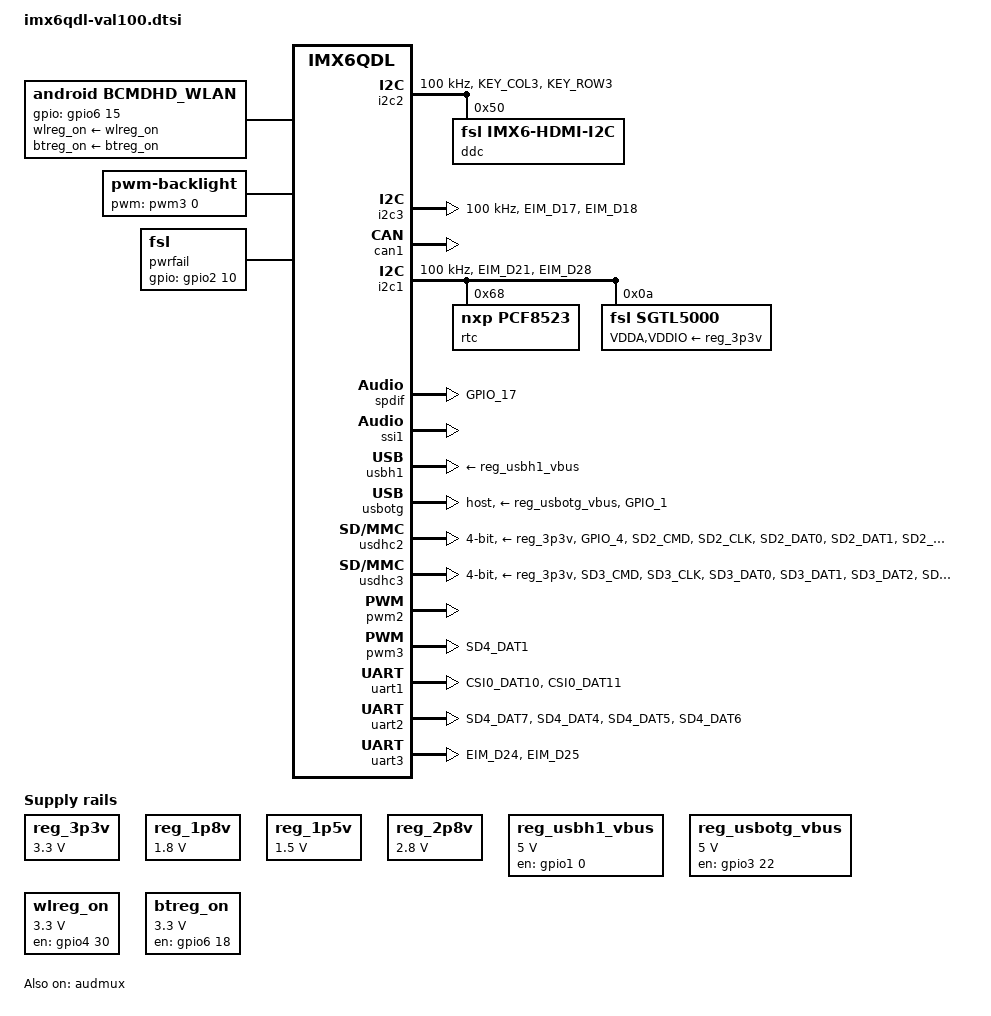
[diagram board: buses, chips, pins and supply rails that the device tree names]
/*
 * Copyright (C) 2016 Access IS
 * Adapted from file by Russell King
 */

#include "imx6qdl-microsom.dtsi"
#include "imx6qdl-microsom-ar8035.dtsi"

#if 1

#if defined(__DTS_IMX6DL_PINFUNC_H)
#undef  MX6QDL_PAD_SD3_DAT6__GPIO6_IO18
#define MX6QDL_PAD_SD3_DAT6__GPIO6_IO18             0x32c 0x714 0x000 0x5 0x0 // Single Core
#elif defined(__DTS_IMX6Q_PINFUNC_H)
#undef  MX6QDL_PAD_SD3_DAT6__GPIO6_IO18
#define MX6QDL_PAD_SD3_DAT6__GPIO6_IO18             0x2ac 0x694 0x000 0x5 0x0 // Dual Core
#endif

#endif
/ {
	chosen {
		bootargs = "quiet console=ttymxc0,115200 root=/dev/mmcblk0p2 rw";
	};

	aliases {
		mxcfb0 = &mxcfb1;
	};

	regulators {
		compatible = "simple-bus";

		reg_3p3v: 3p3v {
			compatible = "regulator-fixed";
			regulator-name = "3P3V";
			regulator-min-microvolt = <3300000>;
			regulator-max-microvolt = <3300000>;
			regulator-always-on;
		};

		reg_1p8v: 1p8v {
			compatible = "regulator-fixed";
			regulator-name = "1P8V";
			regulator-min-microvolt = <1800000>;
                        regulator-max-microvolt = <1800000>;
                        regulator-always-on;
		};



		reg_1p5v: 1p5v {
                        compatible = "regulator-fixed";
                        regulator-name = "1P5V";
                        regulator-min-microvolt = <1500000>;
                        regulator-max-microvolt = <1500000>;
                        regulator-always-on;
                };


		reg_2p8v: 2p8v {
                        compatible = "regulator-fixed";
                        regulator-name = "2P8V";
                        regulator-min-microvolt = <2800000>;
                        regulator-max-microvolt = <2800000>;
                        regulator-always-on;
                };


		reg_usbh1_vbus: usb-h1-vbus {
			compatible = "regulator-fixed";
			enable-active-high;
			gpio = <&gpio1 0 0>;
			pinctrl-names = "default";
			pinctrl-0 = <&pinctrl_ais_usbh1_vbus>;
			regulator-name = "usb_h1_vbus";
			regulator-min-microvolt = <5000000>;
			regulator-max-microvolt = <5000000>;
		};

		reg_usbotg_vbus: usb-otg-vbus {
			compatible = "regulator-fixed";
			enable-active-high;
			gpio = <&gpio3 22 0>;
			pinctrl-names = "default";
			pinctrl-0 = <&pinctrl_ais_usbotg_vbus>;
			regulator-name = "usb_otg_vbus";
			regulator-min-microvolt = <5000000>;
			regulator-max-microvolt = <5000000>;
		};

		/*ASa: add WL_REG_ON for wifi power ctrl*/
		wlreg_on: wl-reg {
			compatible = "regulator-fixed";
 			regulator-min-microvolt = <3300000>;
 			regulator-max-microvolt = <3300000>;
 			regulator-name = "wlreg_on";
            pinctrl-names = "default";
			pinctrl-0 = <&pinctrl_val_wifi_wlreg>;
 			gpio = <&gpio4 30 0>; /* WL_REG_ON */
 			startup-delay-us = <60000>; /* WL_REG_ON preferred is 60000: default 500 */
 			enable-active-high;
 			/*regulator-boot-on;*/
 			regulator-always-on;
		};

		/*ASa: add BT_REG_ON for Bluetooth power ctrl*/
		btreg_on: bt-reg {
			compatible = "regulator-fixed";
 			regulator-min-microvolt = <3300000>;
 			regulator-max-microvolt = <3300000>;
 			regulator-name = "btreg_on";
            pinctrl-names = "default";
			pinctrl-0 = <&pinctrl_val_wifi_btreg>;
 			gpio = <&gpio6 18 0>; /* BT_REG_ON */
			startup-delay-us = <60000>;
 			enable-active-high;
 			/*regulator-boot-on;*/
 			regulator-always-on;
		};
	};

	bcmdhd_wlan {
		compatible = "android,bcmdhd_wlan";
                pinctrl-names = "default";
                pinctrl-0 = <&pinctrl_val_wifi>;
		gpios = <&gpio6 15 0>; /* WL_HOST_WAKE */
		wlreg_on-supply = <&wlreg_on>;
		btreg_on-supply = <&btreg_on>;
	};

	sound-sgtl5000 {
		audio-codec = <&sgtl5000>;
		audio-routing =
			"MIC_IN", "Mic Jack",
			"Mic Jack", "Mic Bias",
			"Headphone Jack", "HP_OUT",
			"Ext Spk", "LINE_OUT";
		compatible = "fsl,imx-audio-sgtl5000";
		model = "On-board Codec";
		mux-ext-port = <5>;
		mux-int-port = <1>;
		ssi-controller = <&ssi1>;
	};


/*	sound-sgtl5000 {
		audio-codec = <&sgtl5000>;
		audio-routing =
			"MIC_IN", "Mic Jack",
			"Mic Jack", "Mic Bias",
			"Headphone Jack", "HP_OUT";
		compatible = "fsl,imx-audio-sgtl5000";
		model = "On-board Codec";
		mux-ext-port = <5>;
		mux-int-port = <1>;
		ssi-controller = <&ssi1>;
	};
*/

	sound-spdif {
		compatible = "fsl,imx-audio-spdif";
		model = "imx-spdif";
		spdif-controller = <&spdif>;
		spdif-out;
	};

	mxcfb1: fb@0 {
		compatible = "fsl,mxc_sdc_fb";
		disp_dev = "lcd";
		interface_pix_fmt = "RGB24";
		mode_str ="ACCESS43";
		default_bpp = <32>;
		int_clk = <0>;
		late_init = <0>;
		status = "okay";
	};

	lcd: lcd@0 {
		compatible = "fsl,lcd";
		ipu_id = <0>;
		disp_id = <1>;
		default_ifmt = "RGB24";
		pinctrl-names = "default";
		pinctrl-0 = <&pinctrl_ipu1_1>;
		status = "okay";
	};


	backlight {
                compatible = "pwm-backlight";
                pwms = <&pwm3 0 5000000>;
                brightness-levels = <0  1  2  3  4  5  6  7  8  9

             10 11 12 13 14 15 16 17 18 19

             20 21 22 23 24 25 26 27 28 29

             30 31 32 33 34 35 36 37 38 39

             40 41 42 43 44 45 46 47 48 49

             50 51 52 53 54 55 56 57 58 59

             60 61 62 63 64 65 66 67 68 69

             70 71 72 73 74 75 76 77 78 79

             80 81 82 83 84 85 86 87 88 89

             90 91 92 93 94 95 96 97 98 99

            100>;
                default-brightness-level = <100>;
        };

	v4l2_out {
		compatible = "fsl,mxc_v4l2_output";
		status = "okay";
	};

	pwrfail {
		compatible = "fsl";
		status = "okay";
		pinctrl-names = "default";
		pinctrl-0 = <&pinctrl_val_pwrfail>;
		gpios = <&gpio2 10>; // PWRFAIL
		input;
	};
};


&i2c2 {
	clock-frequency = <100000>;
	pinctrl-names = "default";
	pinctrl-0 = <&pinctrl_ais_i2c2>;
	status = "okay";

	ddc: imx6_hdmi_i2c@50 {
		compatible = "fsl,imx6-hdmi-i2c";
		reg = <0x50>;
	};
};

&i2c3 {
	clock-frequency = <100000>;
	pinctrl-names = "default";
	pinctrl-0 = <&pinctrl_ais_i2c3>;
	status = "okay";
};

&audmux {
	status = "okay";
};

&can1 {
	pinctrl-names = "default";
	status = "okay";
};

&i2c1 {
	clock-frequency = <100000>;
	pinctrl-names = "default";
	pinctrl-0 = <&pinctrl_ais_i2c1>;
	status = "okay";

	rtc: pcf8523@68 {
		compatible = "nxp,pcf8523";
		reg = <0x68>;
	};

	sgtl5000: sgtl5000@0a {
		clocks = <&clks 201>;
		compatible = "fsl,sgtl5000";
		pinctrl-0 = <&pinctrl_ais_sgtl5000>;
		pinctrl-names = "default";
		reg = <0x0a>;
		VDDA-supply = <&reg_3p3v>;
		VDDIO-supply = <&reg_3p3v>;
	};
};


&iomuxc {
	pinctrl-names = "default";
	pinctrl-0 = <&pinctrl_hog>;
	ais {
		pinctrl_hog: hoggrp {
			fsl,pins = <
//				MX6QDL_PAD_GPIO_1__GPIO1_IO01       0x400130b1  // USB_OTG_ID       USB_OTG_ID      (GPIO1)
//				MX6QDL_PAD_GPIO_3__GPIO1_IO03 		0x4001b0b1  // USB_H1_OC        RS232/485 H/Fn  (GPIO3)
//				MX6QDL_PAD_SD4_DAT0__GPIO2_IO08     0x4001b0b1  //                  RS232/485 RXEN  (GPIO40)
//				MX6QDL_PAD_SD3_DAT7__GPIO6_IO17     0x4001b0b1  //                  RS232/485 485/232n (GPIO177)
//				MX6QDL_PAD_SD4_DAT3__GPIO2_IO11     0x4001b0b1  //                  RS232/485 DXEN  (GPIO43)
//				MX6QDL_PAD_SD3_DAT4__GPIO7_IO01     0x4001b0b1  //                  RS232/485 RB    (GPIO193)
//				MX6QDL_PAD_SD3_DAT5__GPIO7_IO00     0x4001b0b1  //                  RS232/485 DZ    (GPIO192)
//				MX6QDL_PAD_DISP0_DAT8__GPIO4_IO29 	0x4001b0b1 	// PWM1             PA_Enable       (GPIO125)
//				MX6QDL_PAD_EIM_WAIT__GPIO5_IO00 	0x4001b0b1 	// EIM_WAIT         P1_C3_Prod_ID   (GPIO128)
//              MX6QDL_PAD_SD4_CLK__GPIO7_IO10      0x4001b0b1  // SD4_CLK          P32_C3_Prod_ID  (GPIO202)
//				MX6QDL_PAD_SD4_CMD__GPIO7_IO09   	0x4001b0b1 	// SD4_CMD          P34_C3_Prod_ID  (GPIO201)
//				MX6QDL_PAD_ENET_RX_ER__GPIO1_IO24  	0x4001b0b1 	// SPDIF_IN         P35_C3_Prod_ID  (GPIO24)
//				MX6QDL_PAD_EIM_DA13__GPIO3_IO13     0x4001b0b1  // DI1_D0_CS        DEBUG1 LED      (GPIO77)
//              MX6QDL_PAD_EIM_DA15__GPIO3_IO15     0x4001b0b1  // DI1_PIN01        DEBUG2 LED      (GPIO79)
			>;
		};


		pinctrl_ais_i2c1: ais-i2c1 {
			fsl,pins = <
				MX6QDL_PAD_EIM_D21__I2C1_SCL 0x4000a0b1 /*0x40000838 - old value*/
				MX6QDL_PAD_EIM_D28__I2C1_SDA 0x4000a0b1
			>;
		};

		pinctrl_ais_i2c2: ais-i2c2 {
			fsl,pins = <
				MX6QDL_PAD_KEY_COL3__I2C2_SCL 0x40000839
				MX6QDL_PAD_KEY_ROW3__I2C2_SDA 0x40000839 /*0x4000a0b1 - old value*/
			>;
		};

		pinctrl_ais_i2c3: ais-i2c3 {
			fsl,pins = <
				MX6QDL_PAD_EIM_D17__I2C3_SCL 0x40000838  /* 0x4001b8b1 */
				MX6QDL_PAD_EIM_D18__I2C3_SDA 0x40000838
			>;
		};

		pinctrl_ais_sgtl5000: ais-sgtl5000 {
			fsl,pins = <
				MX6QDL_PAD_DISP0_DAT19__AUD5_RXD 0x130b0 /*brk*/
				MX6QDL_PAD_KEY_COL0__AUD5_TXC 0x130b0 /*ok*/
				MX6QDL_PAD_KEY_ROW0__AUD5_TXD 0x110b0 /*brk*/
				MX6QDL_PAD_KEY_COL1__AUD5_TXFS 0x130b0 /*ok*/
				MX6QDL_PAD_GPIO_5__CCM_CLKO1 0x130b0
			>;
		};

		pinctrl_ais_spdif: ais-spdif {
			fsl,pins = <MX6QDL_PAD_GPIO_17__SPDIF_OUT 0x13091>;
		};

		pinctrl_ais_usbh1_vbus: ais-usbh1-vbus {
			fsl,pins = <MX6QDL_PAD_GPIO_0__GPIO1_IO00 0x1b0b0>;
		};

		pinctrl_ais_usbotg_id: ais-usbotg-id {
			/* can be switch for host or slave or OTG */
//			fsl,pins = <MX6QDL_PAD_ENET_RX_ER__USB_OTG_ID 0x13059>; /* 13059 - old value */
			fsl,pins = <MX6QDL_PAD_GPIO_1__USB_OTG_ID   0x1B0B0>; /* 13059 - old value */
		};

		pinctrl_ais_usbotg_vbus: ais-usbotg-vbus {
//	        fsl,pins = <MX6QDL_PAD_EIM_D22__GPIO3_IO22 0x3030>;
            fsl,pins = <MX6QDL_PAD_EIM_D22__USB_OTG_PWR            0x000130B0>;
		};

		pinctrl_ais_usdhc2_aux: ais-usdhc2-aux {
			fsl,pins = <
				MX6QDL_PAD_GPIO_4__GPIO1_IO04    0x1f071
			>;
		};

		pinctrl_ais_usdhc2: ais-usdhc2 {
			fsl,pins = <
				MX6QDL_PAD_SD2_CMD__SD2_CMD    0x17059
				MX6QDL_PAD_SD2_CLK__SD2_CLK    0x10059
				MX6QDL_PAD_SD2_DAT0__SD2_DATA0 0x17059
				MX6QDL_PAD_SD2_DAT1__SD2_DATA1 0x17059
				MX6QDL_PAD_SD2_DAT2__SD2_DATA2 0x17059
				MX6QDL_PAD_SD2_DAT3__SD2_DATA3 0x17059
			>;
		};

		pinctrl_ais_usdhc3: ais-usdhc3 {
			fsl,pins = <
				MX6QDL_PAD_SD3_CMD__SD3_CMD    0x17059
				MX6QDL_PAD_SD3_CLK__SD3_CLK    0x10059
				MX6QDL_PAD_SD3_DAT0__SD3_DATA0 0x17059
				MX6QDL_PAD_SD3_DAT1__SD3_DATA1 0x17059
				MX6QDL_PAD_SD3_DAT2__SD3_DATA2 0x17059
				MX6QDL_PAD_SD3_DAT3__SD3_DATA3 0x17059
			>;
		};

		pinctrl_pwm3: pwm3grp {
			fsl,pins = <
				MX6QDL_PAD_SD4_DAT1__PWM3_OUT 0x1b0b1
			>;
		};

	};

	ipu1 {
		pinctrl_ipu1_1: ipu1grp-1 {
			fsl,pins = <
				MX6QDL_PAD_EIM_A16__IPU1_DI1_DISP_CLK      0x10
				MX6QDL_PAD_EIM_DA10__IPU1_DI1_PIN15        0x10
				MX6QDL_PAD_EIM_DA11__IPU1_DI1_PIN02        0x10
				MX6QDL_PAD_EIM_DA12__IPU1_DI1_PIN03        0x10
				MX6QDL_PAD_EIM_DA14__IPU1_DI1_D1_CS        0x10
//				MX6QDL_PAD_EIM_DA13__IPU1_DI1_D0_CS        0x10

				MX6QDL_PAD_EIM_DA9__IPU1_DISP1_DATA00  	   0x10
				MX6QDL_PAD_EIM_DA8__IPU1_DISP1_DATA01      0x10
				MX6QDL_PAD_EIM_DA7__IPU1_DISP1_DATA02      0x10
				MX6QDL_PAD_EIM_DA6__IPU1_DISP1_DATA03      0x10
				MX6QDL_PAD_EIM_DA5__IPU1_DISP1_DATA04      0x10
				MX6QDL_PAD_EIM_DA4__IPU1_DISP1_DATA05      0x10
				MX6QDL_PAD_EIM_DA3__IPU1_DISP1_DATA06      0x10
				MX6QDL_PAD_EIM_DA2__IPU1_DISP1_DATA07      0x10

				MX6QDL_PAD_EIM_DA1__IPU1_DISP1_DATA08      0x10
				MX6QDL_PAD_EIM_DA0__IPU1_DISP1_DATA09      0x10
				MX6QDL_PAD_EIM_EB1__IPU1_DISP1_DATA10      0x10
				MX6QDL_PAD_EIM_EB0__IPU1_DISP1_DATA11      0x10
				MX6QDL_PAD_EIM_A17__IPU1_DISP1_DATA12      0x10
				MX6QDL_PAD_EIM_A18__IPU1_DISP1_DATA13      0x10
				MX6QDL_PAD_EIM_A19__IPU1_DISP1_DATA14      0x10
				MX6QDL_PAD_EIM_A20__IPU1_DISP1_DATA15      0x10

				MX6QDL_PAD_EIM_A21__IPU1_DISP1_DATA16      0x10
				MX6QDL_PAD_EIM_A22__IPU1_DISP1_DATA17      0x10
				MX6QDL_PAD_EIM_A23__IPU1_DISP1_DATA18      0x10
				MX6QDL_PAD_EIM_A24__IPU1_DISP1_DATA19      0x10
				MX6QDL_PAD_EIM_D31__IPU1_DISP1_DATA20      0x10
				MX6QDL_PAD_EIM_D30__IPU1_DISP1_DATA21      0x10
				MX6QDL_PAD_EIM_D26__IPU1_DISP1_DATA22      0x10
				MX6QDL_PAD_EIM_D27__IPU1_DISP1_DATA23      0x10
			>;
		};
	};


	val {
		pinctrl_val_uart1: VAL-uart1 {
			fsl,pins = <
				MX6QDL_PAD_CSI0_DAT10__UART1_TX_DATA	0x1b0b1
				MX6QDL_PAD_CSI0_DAT11__UART1_RX_DATA	0x1b0b1
//				MX6QDL_PAD_SD3_DAT5__GPIO7_IO00	        0x1b0b1 /*RTS*/
//				MX6QDL_PAD_SD3_DAT4__GPIO7_IO01    	0x1b0b1 /*CTS*/
//				MX6QDL_PAD_SD3_DAT7__GPIO6_IO17 	0x1b0b1 /*DTR*/
//				MX6QDL_PAD_SD3_DAT6__GPIO6_IO18 	0x1b0b1 *//*DSR*/
			>;
		};

		pinctrl_val_uart2: VAL-uart2 {
			fsl,pins = <
				MX6QDL_PAD_SD4_DAT7__UART2_TX_DATA	0x1b0b1
				MX6QDL_PAD_SD4_DAT4__UART2_RX_DATA	0x1b0b1
				MX6QDL_PAD_SD4_DAT5__UART2_RTS_B    0x1b0b0 /*RTS*/
				MX6QDL_PAD_SD4_DAT6__UART2_CTS_B    0x1b0b0 /*CTS*/
//				MX6QDL_PAD_SD4_DAT5__GPIO2_IO13         0x1b0b1 /*RTS*/
//				MX6QDL_PAD_SD4_DAT6__GPIO2_IO14         0x1b0b1 /*CTS*/
//				MX6QDL_PAD_SD4_DAT0__GPIO2_IO08         0x1b0b1 /*DSR*/
//				MX6QDL_PAD_SD4_DAT3__GPIO2_IO11         0x1b0b1 /*DTR*/
			>;
		};

		pinctrl_val_uart3: VAL-uart3 {
			fsl,pins = <
				MX6QDL_PAD_EIM_D24__UART3_TX_DATA	0x1b0b1
				MX6QDL_PAD_EIM_D25__UART3_RX_DATA	0x1b0b1
				/*MX6QDL_PAD_SD4_DAT5__UART2_RTS_B        0x1b0b1
//				MX6QDL_PAD_SD4_DAT6__UART2_CTS_B        0x1b0b1
//				MX6QDL_PAD_SD4_DAT0__GPIO2_IO08         0x1b0b1 /*DSR*/
//				MX6QDL_PAD_SD4_DAT3__GPIO2_IO11         0x1b0b1 /*DTR*/
			>;
		};



		pinctrl_val_ecspi2_1: ecspi2grp-1 {
			fsl,pins = <
				MX6QDL_PAD_EIM_OE__ECSPI2_MISO 		0x100b1
				MX6QDL_PAD_EIM_CS1__ECSPI2_MOSI 	0x100b1
				MX6QDL_PAD_EIM_CS0__ECSPI2_SCLK 	0x100b1
				MX6QDL_PAD_EIM_RW__ECSPI2_SS0 		0x100b1
			>;

		};

        pinctrl_val_wifi: VAL-wifi {
			fsl,pins = <
				MX6QDL_PAD_NANDF_CS2__GPIO6_IO15	0x1b030
//				MX6QDL_PAD_KEY_COL4__GPIO4_IO14 	0x1b0b1
			>;

		};

        pinctrl_val_wifi_wlreg: VAL-wifi-wlreg {
			fsl,pins = <
//				MX6QDL_PAD_SD3_DAT6__GPIO6_IO18 	0x1b0b1
				MX6QDL_PAD_DISP0_DAT9__GPIO4_IO30	0x30
			>;
		};

        pinctrl_val_wifi_btreg: VAL-wifi-btreg {
			fsl,pins = <
				MX6QDL_PAD_SD3_DAT6__GPIO6_IO18 	0x30
			/*	MX6QDL_PAD_SD4_DAT3__GPIO2_IO11         0x1b0b1*/
			>;

		};


		pinctrl_val_pwrfail: VAL-pwrfail {
            fsl,pins = <
                MX6QDL_PAD_SD4_DAT2__GPIO2_IO10     0x1b030
            >;
        };

        pinctrl_val_rs485 {
            fsl,pins = <
                // TBD - board to be respun to make UART pins consistent for
                //  handshaking in hardware if possible.
            >;
        };

	};

};



&spdif {
	pinctrl-names = "default";
	pinctrl-0 = <&pinctrl_ais_spdif>;
	clocks = <&clks 197>, <&clks 0>,
		 <&clks 197>, <&clks 0>,
		 <&clks 0>,   <&clks 0>,
		 <&clks 0>,   <&clks 0>,
		 <&clks 0>;
	clock-names = "core",  "rxtx0",
		      "rxtx1", "rxtx2",
		      "rxtx3", "rxtx4",
		      "rxtx5", "rxtx6",
		      "rxtx7";
	status = "okay";
};

&ssi1 {
	fsl,mode = "i2s-slave";
	status = "okay";
};

&usbh1 {
	disable-over-current;
	vbus-supply = <&reg_usbh1_vbus>;
	status = "okay";
};

&usbotg {
	disable-over-current;
	pinctrl-names = "default";
	pinctrl-0 = <&pinctrl_ais_usbotg_id>;
	vbus-supply = <&reg_usbotg_vbus>;
	dr_mode = "host";
	status = "okay";
};

&usdhc2 {
	pinctrl-names = "default";
	pinctrl-0 = <
		&pinctrl_ais_usdhc2_aux
		&pinctrl_ais_usdhc2
	>;
	bus-width = <4>;
	/*cd-gpios = <&gpio1 4 0>;*/
	no-1-8-v;
	pm-ignore-notify;
	keep-power-in-suspend;
	enable-sdio-wakeup;
	vmmc-supply = <&reg_3p3v>;
	status = "okay";
};


&usdhc3 {
	pinctrl-names = "default";
	pinctrl-0 = <
		&pinctrl_ais_usdhc3
	>;
	bus-width = <4>;
//	cd-gpios = <&gpio1 4 0>;
	no-1-8-v;
	pm-ignore-notify;
	keep-power-in-suspend;
//	cd-broken;
	enable-sdio-wakeup;
	max-frequency = <1000000>;
	vmmc-supply = <&reg_3p3v>;
	status = "okay";
};


&gpc {
	fsl,cpu_pupscr_sw2iso = <0xf>;
	fsl,cpu_pupscr_sw = <0xf>;
	fsl,cpu_pdnscr_iso2sw = <0x1>;
	fsl,cpu_pdnscr_iso = <0x1>;
};



&pwm1 {
        pinctrl-names = "default";
        status = "disabled";
};

&pwm2 {
        pinctrl-names = "default";
        status = "okay";
};

&pwm3 {
	pinctrl-names = "default";
	pinctrl-0 = <&pinctrl_pwm3>;
        status = "okay";
	/*backlight*/
};

&pwm4 {
        status = "disabled";
};

/* UART1 - DSR connected to BCM43438 bt_reg_on */
/* UART1 - DTR connected to 232/485 transceiver */
&uart1 {
	pinctrl-names = "default";
	pinctrl-0 = <&pinctrl_val_uart1>;
	fsl;
//  rts-gpios = <&gpio7  0 0>;
//	cts-gpios = <&gpio7  1 0>;
//	dtr-gpios = <&gpio6 17 0>;
//	dsr-gpios = <&gpio6 18 0>;
	status = "okay";
};

/* UART2 - DSR connected to 232/485 transceiver */
/* UART2 - DTR connected to 232/485 transceiver */
&uart2 {
	pinctrl-names = "default";
	pinctrl-0 = <&pinctrl_val_uart2>;
	fsl,uart-has-rtscts;
//	rts-gpios = <&gpio2 14 0>;
//	cts-gpios = <&gpio2 13 0>;
//	dtr-gpios = <&gpio2 11 0>;
//	dsr-gpios = <&gpio2  8 0>;
	status = "okay";
};

&uart3 {
	pinctrl-names = "default";
	pinctrl-0 = <&pinctrl_val_uart3>;
//	fsl,uart-has-gpio-rtscts;
//	rts-gpios = <&gpio7  0 0>;
//	cts-gpios = <&gpio7  1 0>;
//	dtr-gpios = <&gpio6 17 0>;
//	dsr-gpios = <&gpio6 18 0>;*/
	status = "okay";
};



